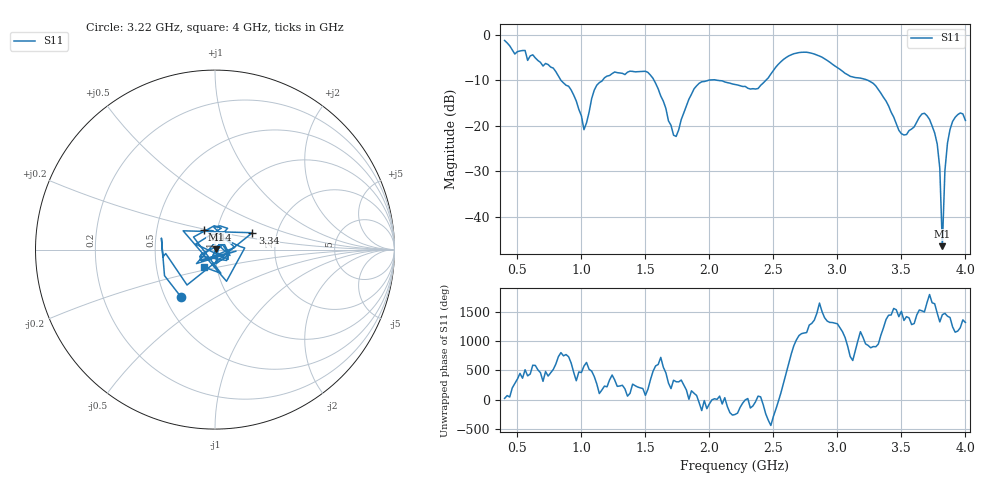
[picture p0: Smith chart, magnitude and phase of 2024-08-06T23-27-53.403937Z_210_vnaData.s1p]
!Created with skrf (http://scikit-rf.org).
# Hz S RI R 50.0
!freq ReS11 ImS11
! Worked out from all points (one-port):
!   181 points, 400 MHz to 4 GHz, reference 50 ohm
!   lowest |S11| = -46.5 dB at 3.82 GHz (marker M1), VSWR 1.01, Z = 50.5 + j0.0975 ohm
!   |S11| at or under -10 dB: 1.568 GHz to 1.989 GHz (420.8 MHz wide, 23.7 % of centre); 2.07 GHz to 2.44 GHz (370.1 MHz wide, 16.4 % of centre); 3.241 GHz to end of sweep (the widest 3 of 4)
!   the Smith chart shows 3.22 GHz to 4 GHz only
!   S11 on the Smith chart (normalised r, x): 3.22 GHz: 0.60, -0.36; 3.34 GHz: 1.49, +0.30; 3.44 GHz: 0.87, +0.19; 4 GHz: 0.87, -0.17
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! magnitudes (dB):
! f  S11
! 400 MHz  -1.2
! 860 MHz  -10.5
! 940 MHz  -13.2
! 1.02 GHz  -20.8
! 1.12 GHz  -11.1
! 1.3 GHz  -8.4
! 1.52 GHz  -8.2
! 1.64 GHz  -14.6
! 1.72 GHz  -22.0
! 1.76 GHz  -20.9
! 1.92 GHz  -10.6
! 2.2 GHz  -10.9
! 2.38 GHz  -11.8
! 2.66 GHz  -4.1
! 3.1 GHz  -9.1
! 3.22 GHz  -9.8
! 3.34 GHz  -12.8
! 3.44 GHz  -18.1
! 3.5 GHz  -21.7
! 3.56 GHz  -21.0
! 3.68 GHz  -17.2
! 3.76 GHz  -21.6
! 3.8 GHz  -29.3
! 3.82 GHz  -46.5
! 3.84 GHz  -29.9
! 3.86 GHz  -23.8
! 3.92 GHz  -18.1
! 4 GHz  -18.8
